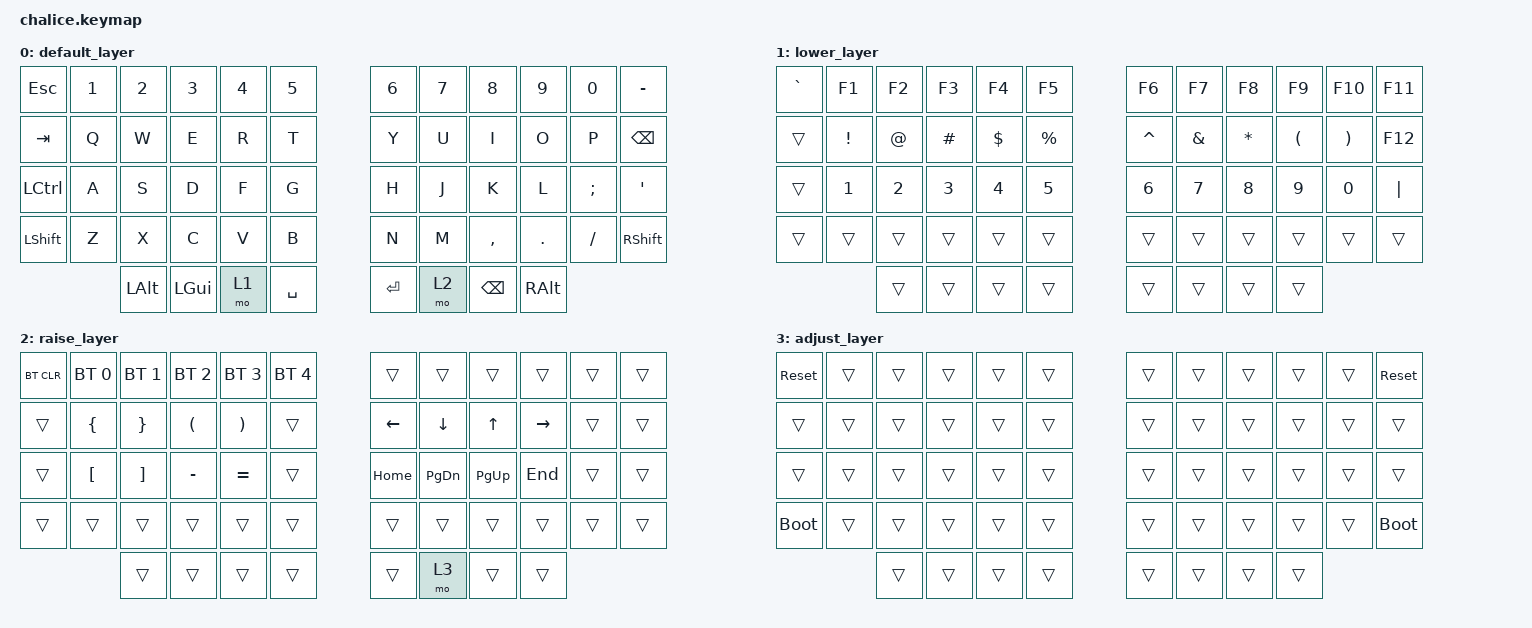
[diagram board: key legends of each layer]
#include <behaviors.dtsi>
#include <dt-bindings/zmk/keys.h>
#include <dt-bindings/zmk/bt.h>

/ {
    keymap {
        compatible = "zmk,keymap";

        default_layer {
            bindings = <
                &kp ESC    &kp N1     &kp N2     &kp N3     &kp N4     &kp N5                     &kp N6     &kp N7     &kp N8     &kp N9     &kp N0     &kp MINUS
                &kp TAB    &kp Q      &kp W      &kp E      &kp R      &kp T                      &kp Y      &kp U      &kp I      &kp O      &kp P      &kp BSPC
                &kp LCTRL  &kp A      &kp S      &kp D      &kp F      &kp G                      &kp H      &kp J      &kp K      &kp L      &kp SEMI   &kp SQT
                &kp LSHFT  &kp Z      &kp X      &kp C      &kp V      &kp B                      &kp N      &kp M      &kp COMMA  &kp DOT    &kp FSLH   &kp RSHFT
                                     &kp LALT   &kp LGUI   &mo 1      &kp SPACE                  &kp RET    &mo 2      &kp BSPC   &kp RALT
            >;
        };

        lower_layer {
            bindings = <
                &kp GRAVE  &kp F1     &kp F2     &kp F3     &kp F4     &kp F5                     &kp F6     &kp F7     &kp F8     &kp F9     &kp F10    &kp F11
                &trans     &kp EXCL   &kp AT     &kp HASH   &kp DLLR   &kp PRCNT                  &kp CARET  &kp AMPS   &kp STAR   &kp LPAR   &kp RPAR   &kp F12
                &trans     &kp N1     &kp N2     &kp N3     &kp N4     &kp N5                     &kp N6     &kp N7     &kp N8     &kp N9     &kp N0     &kp PIPE
                &trans     &trans     &trans     &trans     &trans     &trans                      &trans     &trans     &trans     &trans     &trans     &trans
                                     &trans     &trans     &trans     &trans                      &trans     &trans     &trans     &trans
            >;
        };

        raise_layer {
            bindings = <
                &bt BT_CLR &bt BT_SEL 0 &bt BT_SEL 1 &bt BT_SEL 2 &bt BT_SEL 3 &bt BT_SEL 4      &trans     &trans     &trans     &trans     &trans     &trans
                &trans     &kp LBRC   &kp RBRC   &kp LPAR   &kp RPAR   &trans                     &kp LEFT   &kp DOWN   &kp UP     &kp RIGHT  &trans     &trans
                &trans     &kp LBKT   &kp RBKT   &kp MINUS  &kp EQUAL  &trans                     &kp HOME   &kp PG_DN  &kp PG_UP  &kp END    &trans     &trans
                &trans     &trans     &trans     &trans     &trans     &trans                      &trans     &trans     &trans     &trans     &trans     &trans
                                     &trans     &trans     &trans     &trans                      &trans     &mo 3      &trans     &trans
            >;
        };

        adjust_layer {
            bindings = <
                &sys_reset &trans     &trans     &trans     &trans     &trans                      &trans     &trans     &trans     &trans     &trans     &sys_reset
                &trans     &trans     &trans     &trans     &trans     &trans                      &trans     &trans     &trans     &trans     &trans     &trans
                &trans     &trans     &trans     &trans     &trans     &trans                      &trans     &trans     &trans     &trans     &trans     &trans
                &bootloader &trans    &trans     &trans     &trans     &trans                      &trans     &trans     &trans     &trans     &trans     &bootloader
                                     &trans     &trans     &trans     &trans                      &trans     &trans     &trans     &trans
            >;
        };
    };
};
